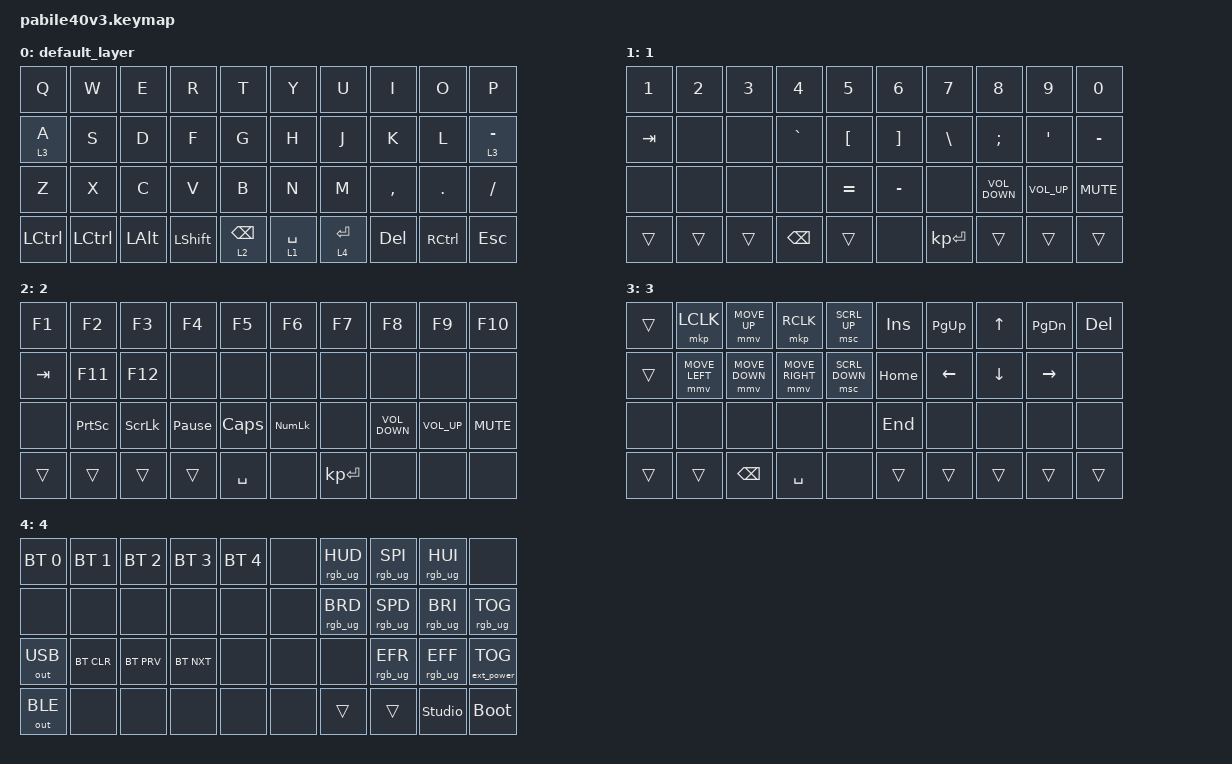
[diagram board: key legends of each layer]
/*
 * Copyright (c) 2025 The ZMK Contributors
 *
 * SPDX-License-Identifier: MIT
 */

#include <behaviors.dtsi>
#include <dt-bindings/zmk/keys.h>
#include <dt-bindings/zmk/bt.h>
#include <dt-bindings/zmk/outputs.h>
#include <dt-bindings/zmk/rgb.h>
#include <dt-bindings/zmk/ext_power.h>
#include <dt-bindings/zmk/pointing.h>

/ {
	keymap {
		compatible = "zmk,keymap";

		default_layer {
			// --------------------------------------------------------------------------
			// |  Q   |  W   |  E   |  R   |  T   |   Y   |  U    |  I   |  O   |   P   | 
			// |  A   |  S   |  D   |  F   |  G   |   H   |  J    |  K   |  L   |   -   | 
			// |  Z   |  X   |  C   |  V   |  B   |   N   |  M    |  ,   |  .   |   /   |
			// | LCTL | LGUI | LALT | LSHFT| BSPC | SPACE |  ENT  | DEL  | RCTL | ESC   |

			bindings = <
				&kp Q     &kp W    &kp E    &kp R     &kp T      &kp Y       &kp U       &kp I     &kp O    &kp P
				&lt 3 A   &kp S    &kp D    &kp F     &kp G      &kp H       &kp J       &kp K     &kp L    &lt 3 MINUS
				&kp Z     &kp X    &kp C    &kp V     &kp B      &kp N       &kp M       &kp COMMA &kp DOT  &kp FSLH
				&kp LCTRL &kp LCTL &kp LALT &kp LSHFT &lt 2 BSPC &lt 1 SPACE &lt 4 ENTER &kp DEL   &kp RCTL &kp ESC
			>;
		};
		1 {
			bindings = <
				&kp N1   &kp N2    &kp N3   &kp N4     &kp N5     &kp N6     &kp N7       &kp N8            &kp N9          &kp N0
				&kp TAB  &none     &none    &kp GRAVE  &kp LBKT   &kp RBKT   &kp BSLH     &kp SEMI          &kp SQT         &kp MINUS
				&none    &none     &none    &none      &kp EQUAL  &kp MINUS  &none        &kp C_VOLUME_DOWN &kp C_VOLUME_UP &kp C_MUTE
				&trans   &trans   &trans    &kp BSPC   &trans     &none      &kp KP_ENTER &trans            &trans          &trans
			>;
		};
		2 {
			bindings = <
				&kp F1   &kp F2    &kp F3   &kp F4           &kp F5    &kp F6          &kp F7       &kp F8            &kp F9          &kp F10
				&kp TAB  &kp F11   &kp F12  &none            &none     &none           &none        &none             &none           &none
				&none    &kp PSCRN &kp SLCK &kp PAUSE_BREAK  &kp CAPS  &kp KP_NUMLOCK  &none        &kp C_VOLUME_DOWN &kp C_VOLUME_UP &kp C_MUTE
				&trans   &trans    &trans   &trans           &kp SPACE &none           &kp KP_ENTER &none             &none           &none
			>;
		};
		3 {
			bindings = <
				&trans        &mkp LCLK      &mmv MOVE_UP   &mkp RCLK       &msc SCRL_UP     &kp INS      &kp PAGE_UP  &kp UP     &kp PAGE_DOWN      &kp DEL
				&trans        &mmv MOVE_LEFT &mmv MOVE_DOWN &mmv MOVE_RIGHT &msc SCRL_DOWN   &kp HOME     &kp LEFT     &kp DOWN   &kp RIGHT          &none
				&none         &none          &none          &none           &none            &kp END      &none        &none      &none              &none
				&trans        &trans         &kp BSPC       &kp SPACE       &none            &trans       &trans       &trans     &trans             &trans
			>;
		};
		4 {
			bindings = <
				&bt BT_SEL 0  &bt BT_SEL 1 &bt BT_SEL 2 &bt BT_SEL 3 &bt BT_SEL 4 &none    &rgb_ug RGB_HUD  &rgb_ug RGB_SPI  &rgb_ug RGB_HUI  &none
				&none         &none        &none        &none        &none        &none    &rgb_ug RGB_BRD  &rgb_ug RGB_SPD  &rgb_ug RGB_BRI  &rgb_ug RGB_TOG
				&out OUT_USB  &bt BT_CLR   &bt BT_PRV   &bt BT_NXT   &none        &none    &none            &rgb_ug RGB_EFR  &rgb_ug RGB_EFF  &ext_power EP_TOG
				&out OUT_BLE  &none        &none        &none        &none        &none    &trans           &trans           &studio_unlock   &bootloader
			>;
		};
	};

};
